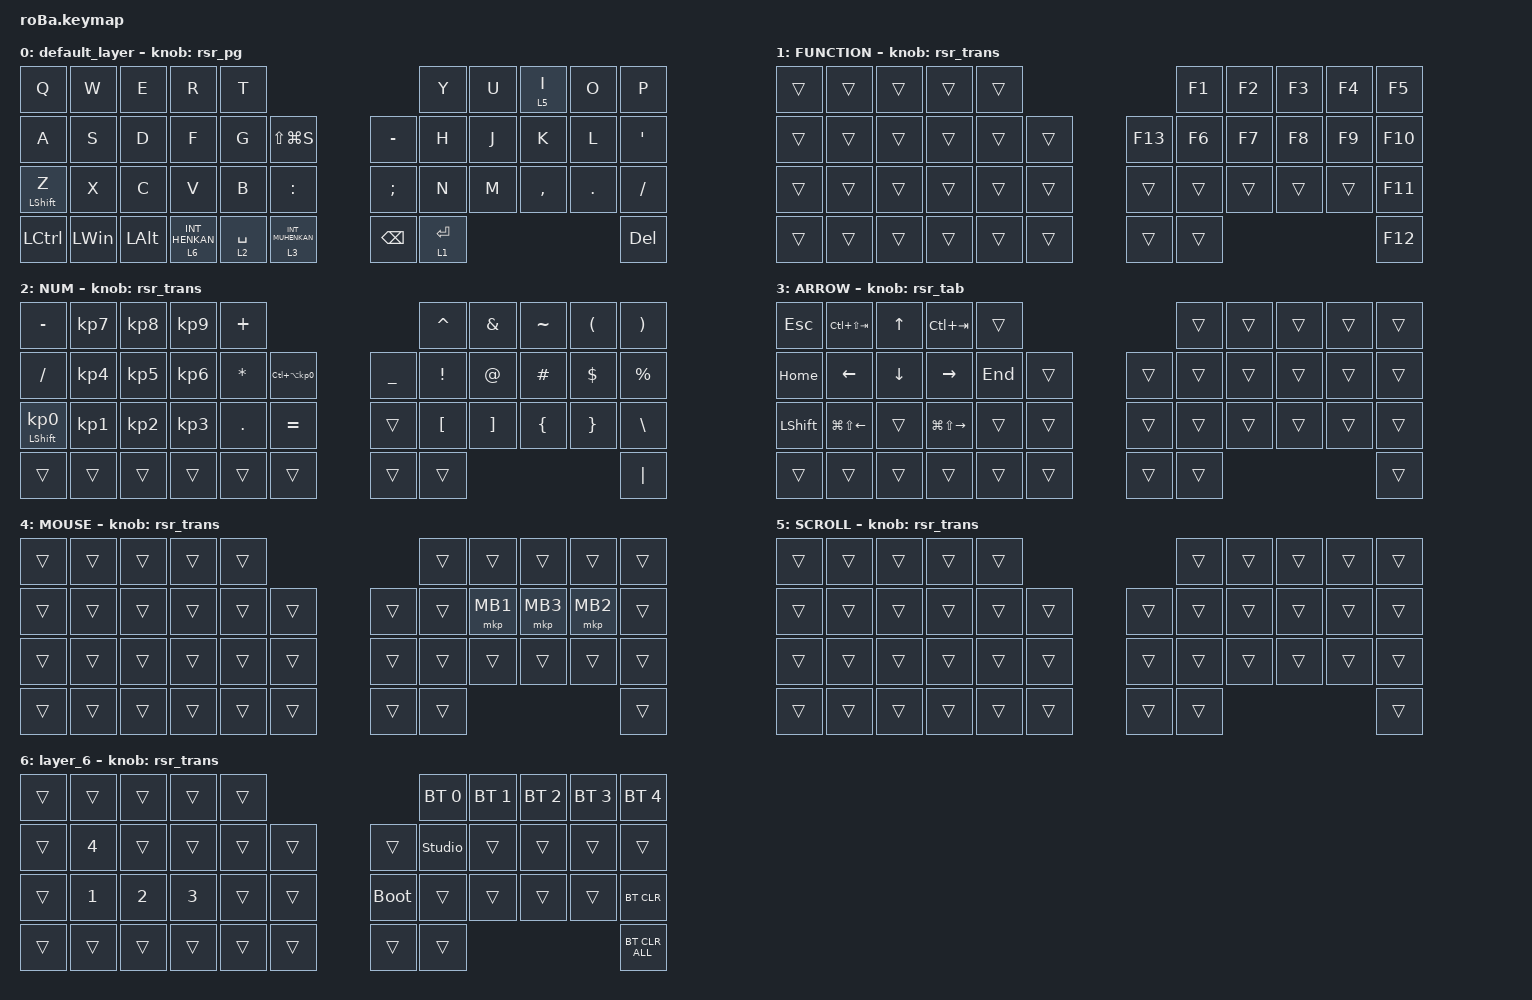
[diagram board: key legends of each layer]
#include <behaviors.dtsi>
#include <dt-bindings/zmk/bt.h>
#include <dt-bindings/zmk/keys.h>
#include <dt-bindings/zmk/pointing.h>
#include <behaviors/runtime-sensor-rotate.dtsi>

&mt {
    flavor = "balanced";
    quick-tap-ms = <0>;
};

/ {
    runtime_combo_defaults {
        compatible = "cormoran,runtime-combo-defaults";

        combo_tab {
            key-positions = <11 12>;
            bindings = <&kp TAB>;
            display-name = "Tab";
        };

        combo_shift_tab {
            key-positions = <12 13>;
            bindings = <&kp LS(TAB)>;
            display-name = "Shift+Tab";
        };

        combo_muhenkan {
            key-positions = <11 10>;
            bindings = <&to_layer_0 INT_MUHENKAN>;
            display-name = "Muhenkan";
        };

        combo_double_quotation {
            key-positions = <20 21>;
            bindings = <&kp DOUBLE_QUOTES>;
            display-name = "DoubleQuote";
        };

        combo_eq {
            key-positions = <24 25>;
            bindings = <&kp EQUAL>;
            display-name = "Equal";
        };
    };

    macros {
        to_layer_0: to_layer_0 {
            compatible = "zmk,behavior-macro-one-param";
            #binding-cells = <1>;
            bindings = <&to 0 &macro_param_1to1 &kp MACRO_PLACEHOLDER>;
            label = "TO_LAYER_0";
        };
    };

    behaviors {
        lt_to_layer_0: lt_to_layer_0 {
            compatible = "zmk,behavior-hold-tap";
            label = "LAYER_TAP_TO_0";
            bindings = <&mo>, <&to_layer_0>;

            #binding-cells = <2>;
            tapping-term-ms = <200>;
        };

        // エンコーダー: DYA Studioから層ごとに回転時の割り当てを変更可能
        rsr_pg: rsr_pg {
            compatible = "zmk,behavior-runtime-sensor-rotate";
            #sensor-binding-cells = <0>;
            tap-ms = <5>;
            cw-binding = <&kp PG_UP>;
            ccw-binding = <&kp PAGE_DOWN>;
        };

        rsr_tab: rsr_tab {
            compatible = "zmk,behavior-runtime-sensor-rotate";
            #sensor-binding-cells = <0>;
            tap-ms = <5>;
            cw-binding = <&kp LC(PAGE_UP)>;
            ccw-binding = <&kp LC(PAGE_DOWN)>;
        };
    };

    keymap {
        compatible = "zmk,keymap";

        default_layer {
            bindings = <
&kp Q             &kp W         &kp E         &kp R                        &kp T                                                          &kp Y        &kp U  &lt 5 I    &kp O    &kp P
&kp A             &kp S         &kp D         &kp F                        &kp G        &kp LS(LG(S))                      &kp MINUS      &kp H        &kp J  &kp K      &kp L    &kp SQT
&mt LEFT_SHIFT Z  &kp X         &kp C         &kp V                        &kp B        &kp COLON                          &kp SEMICOLON  &kp N        &kp M  &kp COMMA  &kp DOT  &kp SLASH
&kp LCTRL         &kp LEFT_WIN  &kp LEFT_ALT  &lt_to_layer_0 6 INT_HENKAN  &lt 2 SPACE  &lt_to_layer_0 3 INT_MUHENKAN      &kp BACKSPACE  &lt 1 ENTER                             &kp DEL
            >;

            sensor-bindings = <&rsr_pg>;
        };

        FUNCTION {
            bindings = <
&trans  &trans  &trans  &trans  &trans                       &kp F1  &kp F2  &kp F3  &kp F4  &kp F5
&trans  &trans  &trans  &trans  &trans  &trans      &kp F13  &kp F6  &kp F7  &kp F8  &kp F9  &kp F10
&trans  &trans  &trans  &trans  &trans  &trans      &trans   &trans  &trans  &trans  &trans  &kp F11
&trans  &trans  &trans  &trans  &trans  &trans      &trans   &trans                          &kp F12
            >;

            sensor-bindings = <&rsr_trans>;
        };

        NUM {
            bindings = <
&kp MINUS                   &kp KP_NUMBER_7  &kp KP_NUMBER_8  &kp KP_NUMBER_9  &kp PLUS                                                   &kp CARET         &kp AMPERSAND      &kp TILDE       &kp LEFT_PARENTHESIS  &kp RIGHT_PARENTHESIS
&kp SLASH                   &kp KP_NUMBER_4  &kp KP_NUMBER_5  &kp KP_NUMBER_6  &kp ASTERISK  &kp LC(LA(KP_NUMBER_0))      &kp UNDERSCORE  &kp EXCLAMATION   &kp AT_SIGN        &kp HASH        &kp DOLLAR            &kp PERCENT
&mt LEFT_SHIFT KP_NUMBER_0  &kp KP_NUMBER_1  &kp KP_NUMBER_2  &kp KP_NUMBER_3  &kp PERIOD    &kp EQUAL                    &trans          &kp LEFT_BRACKET  &kp RIGHT_BRACKET  &kp LEFT_BRACE  &kp RIGHT_BRACE       &kp BACKSLASH
&trans                      &trans           &trans           &trans           &trans        &trans                       &trans          &trans                                                                     &kp PIPE
            >;

            sensor-bindings = <&rsr_trans>;
        };

        ARROW {
            bindings = <
&kp ESCAPE      &kp LC(LS(TAB))         &kp UP_ARROW    &kp LC(TAB)              &trans                       &trans  &trans  &trans  &trans  &trans
&kp HOME        &kp LEFT_ARROW          &kp DOWN_ARROW  &kp RIGHT_ARROW          &kp END  &trans      &trans  &trans  &trans  &trans  &trans  &trans
&kp LEFT_SHIFT  &kp LG(LS(LEFT_ARROW))  &trans          &kp LG(LS(RIGHT_ARROW))  &trans   &trans      &trans  &trans  &trans  &trans  &trans  &trans
&trans          &trans                  &trans          &trans                   &trans   &trans      &trans  &trans                          &trans
            >;

            sensor-bindings = <&rsr_tab>;
        };

        MOUSE {
            bindings = <
&trans  &trans  &trans  &trans  &trans                      &trans  &trans    &trans    &trans    &trans
&trans  &trans  &trans  &trans  &trans  &trans      &trans  &trans  &mkp MB1  &mkp MB3  &mkp MB2  &trans
&trans  &trans  &trans  &trans  &trans  &trans      &trans  &trans  &trans    &trans    &trans    &trans
&trans  &trans  &trans  &trans  &trans  &trans      &trans  &trans                                &trans
            >;

            sensor-bindings = <&rsr_trans>;
        };

        SCROLL {
            bindings = <
&trans  &trans  &trans  &trans  &trans                      &trans  &trans  &trans  &trans  &trans
&trans  &trans  &trans  &trans  &trans  &trans      &trans  &trans  &trans  &trans  &trans  &trans
&trans  &trans  &trans  &trans  &trans  &trans      &trans  &trans  &trans  &trans  &trans  &trans
&trans  &trans  &trans  &trans  &trans  &trans      &trans  &trans                          &trans
            >;

            sensor-bindings = <&rsr_trans>;
        };

        layer_6 {
            bindings = <
&trans  &trans        &trans        &trans        &trans                           &bt BT_SEL 0   &bt BT_SEL 1  &bt BT_SEL 2  &bt BT_SEL 3  &bt BT_SEL 4
&trans  &kp NUMBER_4  &trans        &trans        &trans  &trans      &trans       &studio_unlock &trans        &trans        &trans        &trans
&trans  &kp NUMBER_1  &kp NUMBER_2  &kp NUMBER_3  &trans  &trans      &bootloader  &trans         &trans        &trans        &trans        &bt BT_CLR
&trans  &trans        &trans        &trans        &trans  &trans      &trans       &trans                                                  &bt BT_CLR_ALL
            >;

            sensor-bindings = <&rsr_trans>;
        };
    };
};
